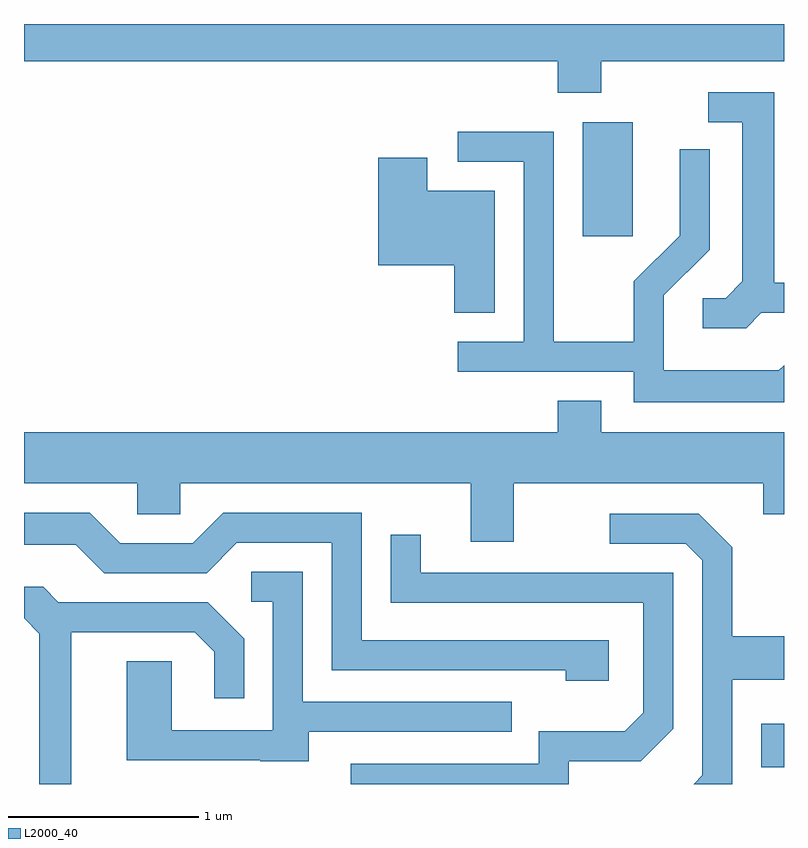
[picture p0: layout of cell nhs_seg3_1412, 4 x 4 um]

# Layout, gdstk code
import gdstk
lib = gdstk.Library(unit=1e-6, precision=1e-09)
def R(c, l, rs):  # rectangles x0, y0, x1, y1
    for r in rs: c.add(gdstk.rectangle(r[:2], r[2:], *l))
def P(c, l, *ps):  # polygons
    for p in ps: c.add(gdstk.Polygon(p, *l))
L2000_40 = (2000, 40)

nhs_seg3_1412 = lib.new_cell('nhs_seg3_1412')
R(nhs_seg3_1412, L2000_40, [(229.491,1219.981,229.611,1220.209), (228.551,1222.776,228.814,1223.374)])
P(nhs_seg3_1412, L2000_40, [(228.649,1223.696),(229.611,1223.696),(229.611,1223.892),(225.611,1223.892),(225.611,1223.696),(228.421,1223.696),(228.421,1223.531),(228.649,1223.531)],
  [(229.492,1222.371),(229.611,1222.371),(229.611,1222.529),(229.559,1222.529),(229.559,1223.534),(229.213,1223.534),(229.213,1223.376),(229.391,1223.376),(229.391,1222.537),(229.304,1222.449),(229.183,1222.449),(229.183,1222.291),(229.412,1222.291)],
  [(229.611,1222.096),(229.584,1222.069),(228.979,1222.069),(228.979,1222.464),(229.219,1222.704),(229.219,1223.233),(229.061,1223.233),(229.061,1222.777),(228.821,1222.537),(228.821,1222.219),(228.399,1222.219),(228.399,1223.324),(227.893,1223.324),(227.893,1223.166),(228.241,1223.166),(228.241,1222.219),(227.893,1222.219),(227.893,1222.061),(228.821,1222.061),(228.821,1221.901),(229.611,1221.901)],
  [(228.089,1223.014),(227.734,1223.014),(227.734,1223.189),(227.476,1223.189),(227.476,1222.621),(227.876,1222.621),(227.876,1222.371),(228.089,1222.371)],
  [(228.189,1221.476),(229.501,1221.476),(229.501,1221.311),(229.611,1221.311),(229.611,1221.744),(228.649,1221.744),(228.649,1221.909),(228.421,1221.909),(228.421,1221.744),(225.611,1221.744),(225.611,1221.476),(226.206,1221.476),(226.206,1221.311),(226.434,1221.311),(226.434,1221.476),(227.961,1221.476),(227.961,1221.166),(228.189,1221.166)],
  [(228.689,1220.649),(227.389,1220.649),(227.389,1221.319),(226.659,1221.319),(226.499,1221.159),(226.117,1221.159),(225.957,1221.319),(225.611,1221.319),(225.611,1221.151),(225.884,1221.151),(226.034,1221.001),(226.572,1221.001),(226.732,1221.161),(227.231,1221.161),(227.231,1220.491),(228.461,1220.491),(228.461,1220.436),(228.689,1220.436)],
  [(229.339,1220.441),(229.611,1220.441),(229.611,1220.669),(229.339,1220.669),(229.339,1221.137),(229.162,1221.314),(228.693,1221.314),(228.693,1221.156),(229.094,1221.156),(229.181,1221.069),(229.181,1219.937),(229.136,1219.892),(229.339,1219.892)],
  [(228.479,1220.011),(228.857,1220.011),(229.029,1220.184),(229.029,1221.004),(227.699,1221.004),(227.699,1221.203),(227.541,1221.203),(227.541,1220.846),(228.871,1220.846),(228.871,1220.267),(228.774,1220.169),(228.321,1220.169),(228.321,1219.999),(227.331,1219.999),(227.331,1219.892),(228.479,1219.892)],
  [(227.109,1220.166),(228.178,1220.166),(228.178,1220.324),(227.079,1220.324),(227.079,1221.009),(226.808,1221.009),(226.808,1220.851),(226.921,1220.851),(226.921,1220.174),(226.389,1220.174),(226.389,1220.539),(226.151,1220.539),(226.151,1220.016),(226.855,1220.016),(226.855,1220.011),(227.109,1220.011)],
  [(225.859,1220.691),(226.509,1220.691),(226.611,1220.589),(226.611,1220.343),(226.769,1220.343),(226.769,1220.657),(226.577,1220.849),(225.792,1220.849),(225.712,1220.929),(225.611,1220.929),(225.611,1220.764),(225.691,1220.684),(225.691,1219.892),(225.859,1219.892)])

lib.write_gds('nhs_seg3_1412.gds')
